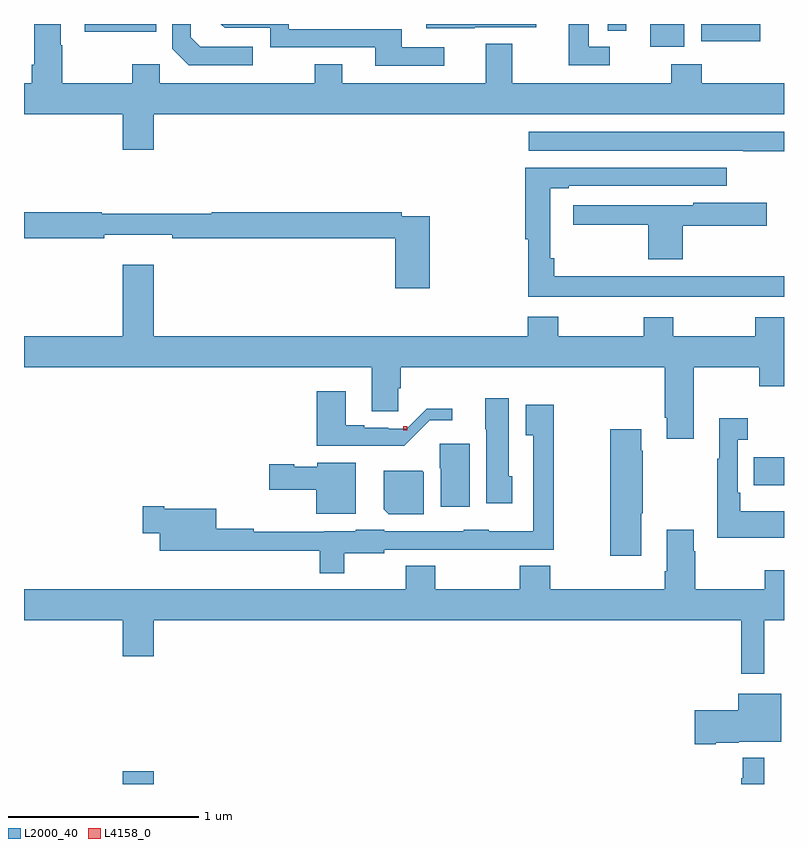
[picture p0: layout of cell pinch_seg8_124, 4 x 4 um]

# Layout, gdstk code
import gdstk
lib = gdstk.Library(unit=1e-6, precision=1e-09)
def R(c, l, rs):  # rectangles x0, y0, x1, y1
    for r in rs: c.add(gdstk.rectangle(r[:2], r[2:], *l))
def P(c, l, *ps):  # polygons
    for p in ps: c.add(gdstk.Polygon(p, *l))
L2000_40 = (2000, 40)
L4158_0 = (4158, 0)

pinch_seg8_124 = lib.new_cell('pinch_seg8_124')
R(pinch_seg8_124, L2000_40, [(1076.096,1106.315,1076.26,1106.383), (1079.419,1107.887,1079.577,1108.035), (1078.874,1110.194,1079.053,1110.315), (1079.142,1110.223,1079.452,1110.315), (1075.896,1110.275,1076.273,1110.315), (1078.65,1110.28,1078.746,1110.315)])
P(pinch_seg8_124, L2000_40, [(1077.949,1110.297),(1078.273,1110.297),(1078.273,1110.315),(1077.695,1110.315),(1077.695,1110.293),(1077.949,1110.293)],
  [(1076.782,1110.195),(1076.505,1110.195),(1076.454,1110.246),(1076.454,1110.315),(1076.358,1110.315),(1076.358,1110.186),(1076.445,1110.099),(1076.782,1110.099)],
  [(1078.66,1110.195),(1078.549,1110.195),(1078.549,1110.315),(1078.445,1110.315),(1078.445,1110.099),(1078.66,1110.099)],
  [(1077.79,1110.192),(1077.565,1110.192),(1077.565,1110.288),(1076.97,1110.288),(1076.97,1110.315),(1076.613,1110.315),(1076.634,1110.294),(1076.874,1110.294),(1076.874,1110.192),(1077.425,1110.192),(1077.425,1110.096),(1077.79,1110.096)],
  [(1076.26,1109.84),(1079.577,1109.84),(1079.577,1110.004),(1079.144,1110.004),(1079.144,1110.103),(1078.984,1110.103),(1078.984,1110.004),(1078.147,1110.004),(1078.147,1110.212),(1078.007,1110.212),(1078.007,1110.004),(1077.253,1110.004),(1077.253,1110.103),(1077.106,1110.103),(1077.106,1110.004),(1076.292,1110.004),(1076.292,1110.103),(1076.146,1110.103),(1076.146,1110.004),(1075.779,1110.004),(1075.779,1110.203),(1075.771,1110.203),(1075.771,1110.315),(1075.631,1110.315),(1075.631,1110.1),(1075.619,1110.1),(1075.619,1110.004),(1075.577,1110.004),(1075.577,1109.84),(1076.096,1109.84),(1076.096,1109.652),(1076.26,1109.652)],
  [(1079.577,1109.749),(1078.233,1109.749),(1078.233,1109.648),(1079.362,1109.648),(1079.362,1109.646),(1079.577,1109.646)],
  [(1079.577,1108.987),(1078.367,1108.987),(1078.367,1109.083),(1078.348,1109.083),(1078.348,1109.451),(1078.444,1109.451),(1078.444,1109.463),(1079.275,1109.463),(1079.275,1109.559),(1078.214,1109.559),(1078.214,1109.181),(1078.231,1109.181),(1078.231,1108.88),(1079.577,1108.88)],
  [(1079.045,1109.252),(1079.485,1109.252),(1079.485,1109.374),(1079.1,1109.374),(1079.1,1109.362),(1078.467,1109.362),(1078.467,1109.259),(1078.862,1109.259),(1078.862,1109.076),(1079.045,1109.076)],
  [(1077.713,1109.304),(1077.566,1109.304),(1077.566,1109.324),(1076.566,1109.324),(1076.566,1109.317),(1075.985,1109.317),(1075.985,1109.324),(1075.577,1109.324),(1075.577,1109.188),(1076,1109.188),(1076,1109.207),(1076.356,1109.207),(1076.356,1109.188),(1077.53,1109.188),(1077.53,1108.923),(1077.713,1108.923)],
  [(1079.101,1108.508),(1079.446,1108.508),(1079.446,1108.409),(1079.577,1108.409),(1079.577,1108.771),(1079.425,1108.771),(1079.425,1108.672),(1078.995,1108.672),(1078.995,1108.771),(1078.84,1108.771),(1078.84,1108.672),(1078.389,1108.672),(1078.389,1108.774),(1078.229,1108.774),(1078.229,1108.672),(1076.26,1108.672),(1076.26,1109.047),(1076.096,1109.047),(1076.096,1108.672),(1075.577,1108.672),(1075.577,1108.508),(1077.407,1108.508),(1077.407,1108.276),(1077.546,1108.276),(1077.546,1108.398),(1077.56,1108.398),(1077.56,1108.508),(1078.949,1108.508),(1078.949,1108.243),(1078.961,1108.243),(1078.961,1108.131),(1079.101,1108.131)],
  [(1077.713,1108.229),(1077.832,1108.229),(1077.832,1108.291),(1077.697,1108.291),(1077.591,1108.185),(1077.494,1108.185),(1077.494,1108.191),(1077.367,1108.191),(1077.367,1108.204),(1077.271,1108.204),(1077.271,1108.381),(1077.119,1108.381),(1077.119,1108.094),(1077.578,1108.094)],
  [(1078.147,1107.936),(1078.129,1107.936),(1078.129,1108.345),(1078.004,1108.345),(1078.004,1108.182),(1078.01,1108.182),(1078.01,1107.792),(1078.147,1107.792)],
  [(1077.262,1107.53),(1077.474,1107.53),(1077.474,1107.549),(1077.891,1107.549),(1077.891,1107.548),(1078.123,1107.548),(1078.123,1107.549),(1078.366,1107.549),(1078.366,1108.312),(1078.217,1108.312),(1078.217,1108.151),(1078.257,1108.151),(1078.257,1107.646),(1078.023,1107.646),(1078.023,1107.652),(1077.891,1107.652),(1077.891,1107.645),(1077.474,1107.645),(1077.474,1107.652),(1077.324,1107.652),(1077.324,1107.646),(1077.156,1107.646),(1077.156,1107.642),(1076.786,1107.642),(1076.786,1107.659),(1076.59,1107.659),(1076.59,1107.763),(1076.314,1107.763),(1076.314,1107.776),(1076.202,1107.776),(1076.202,1107.634),(1076.291,1107.634),(1076.291,1107.542),(1077.133,1107.542),(1077.133,1107.425),(1077.262,1107.425)],
  [(1079.577,1107.751),(1079.347,1107.751),(1079.347,1107.847),(1079.334,1107.847),(1079.334,1108.127),(1079.386,1108.127),(1079.386,1108.24),(1079.237,1108.24),(1079.237,1108.027),(1079.226,1108.027),(1079.226,1107.611),(1079.577,1107.611)],
  [(1078.825,1107.739),(1078.833,1107.739),(1078.833,1108.07),(1078.825,1108.07),(1078.825,1108.183),(1078.663,1108.183),(1078.663,1107.516),(1078.825,1107.516)],
  [(1077.922,1108.105),(1077.764,1108.105),(1077.764,1107.978),(1077.77,1107.978),(1077.77,1107.774),(1077.922,1107.774)],
  [(1077.322,1108.006),(1077.12,1108.006),(1077.12,1107.985),(1077,1107.985),(1077,1107.998),(1076.868,1107.998),(1076.868,1107.863),(1077.116,1107.863),(1077.116,1107.737),(1077.322,1107.737)],
  [(1077.682,1107.956),(1077.674,1107.964),(1077.47,1107.964),(1077.47,1107.76),(1077.496,1107.734),(1077.682,1107.734)],
  [(1079.473,1107.176),(1079.577,1107.176),(1079.577,1107.439),(1079.476,1107.439),(1079.476,1107.34),(1079.109,1107.34),(1079.109,1107.539),(1079.101,1107.539),(1079.101,1107.652),(1078.961,1107.652),(1078.961,1107.436),(1078.949,1107.436),(1078.949,1107.34),(1078.346,1107.34),(1078.346,1107.464),(1078.186,1107.464),(1078.186,1107.34),(1077.741,1107.34),(1077.741,1107.464),(1077.586,1107.464),(1077.586,1107.34),(1075.577,1107.34),(1075.577,1107.176),(1076.096,1107.176),(1076.096,1106.988),(1076.26,1106.988),(1076.26,1107.176),(1079.352,1107.176),(1079.352,1106.895),(1079.473,1106.895)],
  [(1079.218,1106.531),(1079.34,1106.531),(1079.34,1106.537),(1079.563,1106.537),(1079.563,1106.791),(1079.336,1106.791),(1079.336,1106.703),(1079.106,1106.703),(1079.106,1106.525),(1079.218,1106.525)],
  [(1079.473,1106.452),(1079.359,1106.452),(1079.359,1106.345),(1079.352,1106.345),(1079.352,1106.315),(1079.473,1106.315)])
R(pinch_seg8_124, L4158_0, [(1077.574,1108.178,1077.594,1108.198)])

lib.write_gds('pinch_seg8_124.gds')
